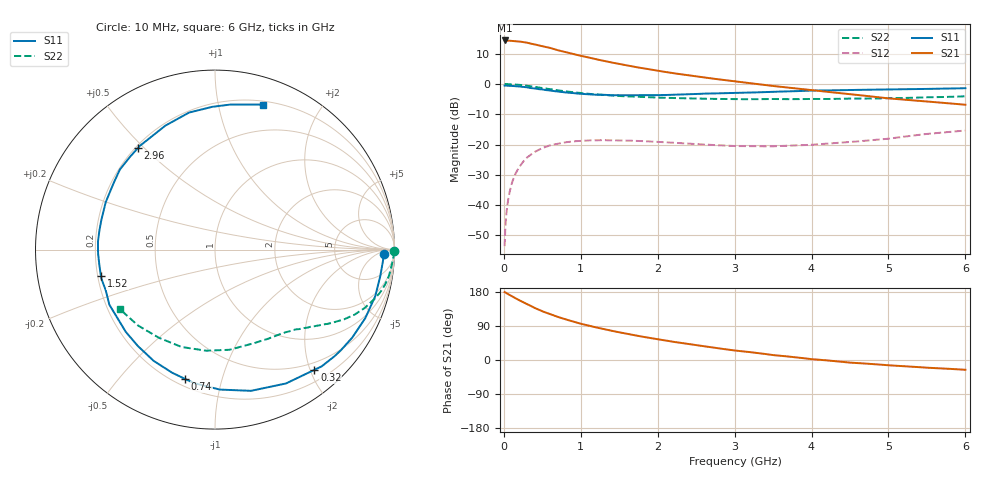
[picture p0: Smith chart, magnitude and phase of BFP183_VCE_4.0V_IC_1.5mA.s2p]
! Infineon Technologies  Discrete & RF Semiconductors
! BFP183
! VCE = 4.0 V,  IC =  1.5 mA
! Common Emitter S-Parameters:  Jan 2016
# GHz  S  MA  R  50
!  f  S11  S21  S12  S22
! GHz  MAG  ANG  MAG  ANG  MAG  ANG  MAG  ANG
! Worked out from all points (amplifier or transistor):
!   210 points, 10 MHz to 6 GHz, reference 50 ohm
!   highest |S21| = 14.4 dB at 10 MHz (marker M1)
!   |S21| within 3 dB of that: start of sweep to 671.2 MHz
!   unconditionally stable (mu >= 1): 2.269 GHz to 5.926 GHz
!   at 185 MHz: K = 0.08, MSG = 21.1 dB, |S12| = -28.1 dB
!   at 1.52 GHz: K = 0.65, MSG = 12.6 dB, |S12| = -18.6 dB
!   at 6 GHz: K = 0.97, MSG = 4.3 dB, |S12| = -15.4 dB
!   S11 on the Smith chart (normalised r, x): 10 MHz: 29, -12; 320 MHz: 0.38, -2.07; 740 MHz: 0.24, -0.77; 1.52 GHz: 0.21, -0.11; 2.96 GHz: 0.21, +0.48; 6 GHz: 0.23, +1.36
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0.01  0.9415 -1.4  5.222 179.2  0.0021 87.5  1 -0.6
0.02  0.939 -3.2  5.188 178.3  0.0044 84.5  0.9985 -1.3
0.035  0.9354 -5.8  5.192 176.3  0.0076 86.7  0.9959 -2.1
0.09  0.9292 -14.6  5.153 170.0  0.0198 80.4  0.9876 -5.3
0.2  0.9083 -32.7  5.031 157.7  0.0424 71.5  0.9675 -11.6
0.26  0.8925 -41.7  4.893 151.4  0.0536 65.8  0.9485 -14.8
0.32  0.8694 -50.4  4.73 145.8  0.0635 60.8  0.9264 -17.6
0.4  0.8441 -62.1  4.503 137.5  0.0753 54.9  0.8971 -21.1
0.5  0.812 -75.7  4.197 128.6  0.0875 47.7  0.8579 -25.0
0.6  0.7804 -88.0  3.939 120.9  0.097 41.6  0.8198 -28.2
0.74  0.7394 -103.1  3.505 111.4  0.1054 34.4  0.7731 -31.7
0.88  0.7099 -116.9  3.174 102.7  0.112 28.4  0.7352 -34.6
1.02  0.6843 -130.3  2.878 94.7  0.1155 23.2  0.7037 -37.2
1.22  0.6628 -146.6  2.525 85.1  0.1178 17.0  0.6694 -40.6
1.52  0.6521 -167.0  2.115 72.2  0.1169 10.9  0.6306 -45.0
2.02  0.6545 164.6  1.638 54.1  0.1102 4.9  0.5941 -52.5
2.44  0.6767 146.1  1.368 41.0  0.1028 3.4  0.5763 -60.0
2.96  0.7103 127.3  1.122 26.2  0.095 5.6  0.5621 -70.2
3.1  0.7161 123.1  1.067 23.0  0.0941 7.1  0.5604 -73.2
4.1  0.779 98.7  0.766 0.7  0.1012 19.4  0.5643 -97.8
5.1  0.8147 82.7  0.564 -15.1  0.1298 26.7  0.5837 -125.0
6  0.8502 71.8  0.454 -25.8  0.1703 22.3  0.6258 -148.1
